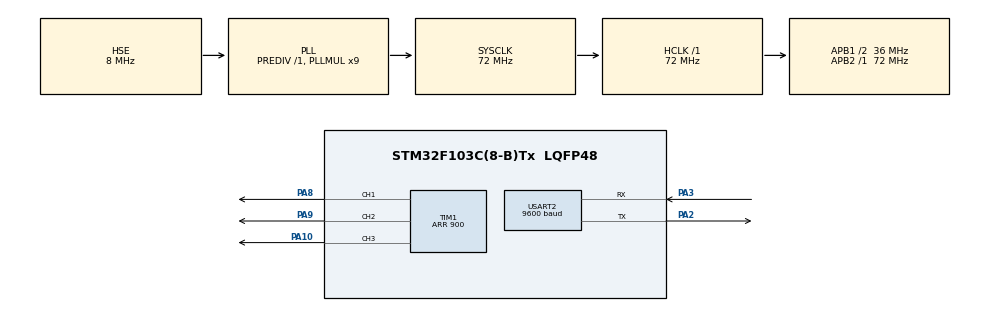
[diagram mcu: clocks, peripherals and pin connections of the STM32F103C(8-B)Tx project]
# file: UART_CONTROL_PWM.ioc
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Mcu.Family=STM32F1
Mcu.Name=STM32F103C(8-B)Tx
Mcu.Package=LQFP48
NVIC.PriorityGroup=NVIC_PRIORITYGROUP_4
NVIC.TIM4_IRQn=true\:15\:0\:false\:false\:true\:false\:true
NVIC.TimeBase=TIM4_IRQn
NVIC.TimeBaseIP=TIM4
NVIC.USART2_IRQn=true\:0\:0\:false\:false\:true\:true\:true
PA10.Signal=S_TIM1_CH3
PA13.Mode=Serial_Wire
PA13.Signal=SYS_JTMS-SWDIO
PA14.Mode=Serial_Wire
PA14.Signal=SYS_JTCK-SWCLK
PA2.Mode=Asynchronous
PA2.Signal=USART2_TX
PA3.Mode=Asynchronous
PA3.Signal=USART2_RX
PA8.Signal=S_TIM1_CH1
PA9.Signal=S_TIM1_CH2
PD0-OSC_IN.Mode=HSE-External-Oscillator
PD0-OSC_IN.Signal=RCC_OSC_IN
PD1-OSC_OUT.Mode=HSE-External-Oscillator
PD1-OSC_OUT.Signal=RCC_OSC_OUT
ProjectManager.HeapSize=0x200
ProjectManager.StackSize=0x400
ProjectManager.TargetToolchain=MDK-ARM V5.32
RCC.AHBFreq_Value=72000000
RCC.APB1CLKDivider=RCC_HCLK_DIV2
RCC.APB1Freq_Value=36000000
RCC.APB1TimFreq_Value=72000000
RCC.APB2Freq_Value=72000000
RCC.APB2TimFreq_Value=72000000
RCC.HCLKFreq_Value=72000000
RCC.PLLMUL=RCC_PLL_MUL9
RCC.PLLSourceVirtual=RCC_PLLSOURCE_HSE
RCC.SYSCLKFreq_VALUE=72000000
RCC.SYSCLKSource=RCC_SYSCLKSOURCE_PLLCLK
RCC.USBFreq_Value=72000000
SH.S_TIM1_CH1.0=TIM1_CH1,PWM Generation1 CH1
SH.S_TIM1_CH2.0=TIM1_CH2,PWM Generation2 CH2
SH.S_TIM1_CH3.0=TIM1_CH3,PWM Generation3 CH3
TIM1.Channel-PWM\ Generation1\ CH1=TIM_CHANNEL_1
TIM1.Channel-PWM\ Generation2\ CH2=TIM_CHANNEL_2
TIM1.Channel-PWM\ Generation3\ CH3=TIM_CHANNEL_3
TIM1.CounterMode=TIM_COUNTERMODE_CENTERALIGNED1
TIM1.OCMode_PWM-PWM\ Generation1\ CH1=TIM_OCMODE_PWM2
TIM1.OCMode_PWM-PWM\ Generation2\ CH2=TIM_OCMODE_PWM2
TIM1.OCMode_PWM-PWM\ Generation3\ CH3=TIM_OCMODE_PWM2
TIM1.OCPolarity_1=TIM_OCPOLARITY_LOW
TIM1.OCPolarity_2=TIM_OCPOLARITY_LOW
TIM1.OCPolarity_3=TIM_OCPOLARITY_LOW
TIM1.Period=900
USART2.BaudRate=9600
USART2.VirtualMode=VM_ASYNC
VP_SYS_VS_tim4.Mode=TIM4
board=custom

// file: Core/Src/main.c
/* USER CODE BEGIN Header */
/**
  ******************************************************************************
  * @file           : main.c
  * @brief          : Main program body
  ******************************************************************************
  * @attention
  *
  * Copyright (c) 2022 STMicroelectronics.
  * All rights reserved.
  *
  * This software is licensed under terms that can be found in the LICENSE file
  * in the root directory of this software component.
  * If no LICENSE file comes with this software, it is provided AS-IS.
  *
  ******************************************************************************
  */
/* USER CODE END Header */
#include "main.h"

/* USER CODE BEGIN PTD */
typedef enum{
	False = 0,
	True = 1
}bool;

typedef struct {
	bool selected;
	uint16_t x;
	uint16_t y;
	uint16_t z;
}pwm_channel;
/* USER CODE END PTD */

TIM_HandleTypeDef htim1;

UART_HandleTypeDef huart2;

/* USER CODE BEGIN PV */
#define SERIAL_BUFF 64
uint8_t _rx_buff[SERIAL_BUFF] = {0};
size_t _rx_buff_tail = 0;
size_t _rx_buff_head = 0;

uint8_t c;
uint8_t counter = 0;
uint8_t line[SERIAL_BUFF];

volatile pwm_channel pwm_c = {False,0,0,0};
/* USER CODE END PV */

void SystemClock_Config(void);
static void MX_GPIO_Init(void);
static void MX_TIM1_Init(void);
static void MX_USART2_UART_Init(void);
/* USER CODE BEGIN PFP */
uint8_t serial_read(void);
void gc_execute_line(uint8_t*);
bool read_number(uint8_t*,uint8_t*,long*);
/* USER CODE END PFP */

int main(void)
{

  /* MCU Configuration--------------------------------------------------------*/

  /* Reset of all peripherals, Initializes the Flash interface and the Systick. */
  HAL_Init();

  /* Configure the system clock */
  SystemClock_Config();

  /* Initialize all configured peripherals */
  MX_GPIO_Init();
  MX_TIM1_Init();
  MX_USART2_UART_Init();
  /* USER CODE BEGIN 2 */
	__HAL_UART_ENABLE_IT(&huart2,UART_IT_RXNE);
	HAL_TIM_PWM_Start(&htim1,TIM_CHANNEL_1);
	HAL_TIM_PWM_Start(&htim1,TIM_CHANNEL_2);
	HAL_TIM_PWM_Start(&htim1,TIM_CHANNEL_3);
  /* USER CODE END 2 */

  /* Infinite loop */
  /* USER CODE BEGIN WHILE */
  while (1)
  {
		c = serial_read();
		if(c != 0xFF){
			if ((c == '\n') || (c == '\r')) {
				line[counter] = 0;
				gc_execute_line(line);
				counter = 0;
			}
			else if (counter >= SERIAL_BUFF)
			{
				counter = 0;
			}
			else if (c >= 'a' && c <= 'z')
			{
				line[counter++] = c-'a'+'A';
			}
			else
			{
				line[counter++] = c;
			}
    /* USER CODE END WHILE */
		}
  }
}

void SystemClock_Config(void)
{
  RCC_OscInitTypeDef RCC_OscInitStruct = {0};
  RCC_ClkInitTypeDef RCC_ClkInitStruct = {0};

  /** Initializes the RCC Oscillators according to the specified parameters
  * in the RCC_OscInitTypeDef structure.
  */
  RCC_OscInitStruct.OscillatorType = RCC_OSCILLATORTYPE_HSE;
  RCC_OscInitStruct.HSEState = RCC_HSE_ON;
  RCC_OscInitStruct.HSEPredivValue = RCC_HSE_PREDIV_DIV1;
  RCC_OscInitStruct.HSIState = RCC_HSI_ON;
  RCC_OscInitStruct.PLL.PLLState = RCC_PLL_ON;
  RCC_OscInitStruct.PLL.PLLSource = RCC_PLLSOURCE_HSE;
  RCC_OscInitStruct.PLL.PLLMUL = RCC_PLL_MUL9;
  if (HAL_RCC_OscConfig(&RCC_OscInitStruct) != HAL_OK)
  {
    Error_Handler();
  }
  /** Initializes the CPU, AHB and APB buses clocks
  */
  RCC_ClkInitStruct.ClockType = RCC_CLOCKTYPE_HCLK|RCC_CLOCKTYPE_SYSCLK
                              |RCC_CLOCKTYPE_PCLK1|RCC_CLOCKTYPE_PCLK2;
  RCC_ClkInitStruct.SYSCLKSource = RCC_SYSCLKSOURCE_PLLCLK;
  RCC_ClkInitStruct.AHBCLKDivider = RCC_SYSCLK_DIV1;
  RCC_ClkInitStruct.APB1CLKDivider = RCC_HCLK_DIV2;
  RCC_ClkInitStruct.APB2CLKDivider = RCC_HCLK_DIV1;

  if (HAL_RCC_ClockConfig(&RCC_ClkInitStruct, FLASH_LATENCY_2) != HAL_OK)
  {
    Error_Handler();
  }
}

static void MX_TIM1_Init(void)
{

  TIM_MasterConfigTypeDef sMasterConfig = {0};
  TIM_OC_InitTypeDef sConfigOC = {0};
  TIM_BreakDeadTimeConfigTypeDef sBreakDeadTimeConfig = {0};

  htim1.Instance = TIM1;
  htim1.Init.Prescaler = 0;
  htim1.Init.CounterMode = TIM_COUNTERMODE_CENTERALIGNED1;
  htim1.Init.Period = 900;
  htim1.Init.ClockDivision = TIM_CLOCKDIVISION_DIV1;
  htim1.Init.RepetitionCounter = 0;
  htim1.Init.AutoReloadPreload = TIM_AUTORELOAD_PRELOAD_DISABLE;
  if (HAL_TIM_PWM_Init(&htim1) != HAL_OK)
  {
    Error_Handler();
  }
  sMasterConfig.MasterOutputTrigger = TIM_TRGO_RESET;
  sMasterConfig.MasterSlaveMode = TIM_MASTERSLAVEMODE_DISABLE;
  if (HAL_TIMEx_MasterConfigSynchronization(&htim1, &sMasterConfig) != HAL_OK)
  {
    Error_Handler();
  }
  sConfigOC.OCMode = TIM_OCMODE_PWM2;
  sConfigOC.Pulse = 0;
  sConfigOC.OCPolarity = TIM_OCPOLARITY_LOW;
  sConfigOC.OCNPolarity = TIM_OCNPOLARITY_HIGH;
  sConfigOC.OCFastMode = TIM_OCFAST_DISABLE;
  sConfigOC.OCIdleState = TIM_OCIDLESTATE_RESET;
  sConfigOC.OCNIdleState = TIM_OCNIDLESTATE_RESET;
  if (HAL_TIM_PWM_ConfigChannel(&htim1, &sConfigOC, TIM_CHANNEL_1) != HAL_OK)
  {
    Error_Handler();
  }
  if (HAL_TIM_PWM_ConfigChannel(&htim1, &sConfigOC, TIM_CHANNEL_2) != HAL_OK)
  {
    Error_Handler();
  }
  if (HAL_TIM_PWM_ConfigChannel(&htim1, &sConfigOC, TIM_CHANNEL_3) != HAL_OK)
  {
    Error_Handler();
  }
  sBreakDeadTimeConfig.OffStateRunMode = TIM_OSSR_DISABLE;
  sBreakDeadTimeConfig.OffStateIDLEMode = TIM_OSSI_DISABLE;
  sBreakDeadTimeConfig.LockLevel = TIM_LOCKLEVEL_OFF;
  sBreakDeadTimeConfig.DeadTime = 0;
  sBreakDeadTimeConfig.BreakState = TIM_BREAK_DISABLE;
  sBreakDeadTimeConfig.BreakPolarity = TIM_BREAKPOLARITY_HIGH;
  sBreakDeadTimeConfig.AutomaticOutput = TIM_AUTOMATICOUTPUT_DISABLE;
  if (HAL_TIMEx_ConfigBreakDeadTime(&htim1, &sBreakDeadTimeConfig) != HAL_OK)
  {
    Error_Handler();
  }
  HAL_TIM_MspPostInit(&htim1);

}

static void MX_USART2_UART_Init(void)
{

  huart2.Instance = USART2;
  huart2.Init.BaudRate = 9600;
  huart2.Init.WordLength = UART_WORDLENGTH_8B;
  huart2.Init.StopBits = UART_STOPBITS_1;
  huart2.Init.Parity = UART_PARITY_NONE;
  huart2.Init.Mode = UART_MODE_TX_RX;
  huart2.Init.HwFlowCtl = UART_HWCONTROL_NONE;
  huart2.Init.OverSampling = UART_OVERSAMPLING_16;
  if (HAL_UART_Init(&huart2) != HAL_OK)
  {
    Error_Handler();
  }

}

static void MX_GPIO_Init(void)
{

  /* GPIO Ports Clock Enable */
  __HAL_RCC_GPIOD_CLK_ENABLE();
  __HAL_RCC_GPIOA_CLK_ENABLE();

}

/* USER CODE BEGIN 4 */

uint8_t serial_read(void){
	uint8_t result = 0xff;
	if(_rx_buff_tail == _rx_buff_head){
		return result;
	}
	else{
		result = _rx_buff[_rx_buff_tail];
		_rx_buff_tail = (_rx_buff_tail+1)%SERIAL_BUFF;
		return result;
	}
}

//void HAL_UART_TxCpltCallback(UART_HandleTypeDef *huart){
//	uint8_t next_head;
//	if (huart->Instance == huart2.Instance){
//		next_head = (_rx_buff_head+1)%SERIAL_BUFF;
//		if (next_head != _rx_buff_tail){
//			_rx_buff[_rx_buff_head] = huart2.Instance->DR;
//			_rx_buff_head = next_head;
//		}
//	}
//}

void USART2_IRQHandler(void)
{
	if((huart2.Instance->SR & USART_SR_RXNE) != 0x0000){
		uint8_t next_head = (_rx_buff_head+1)%SERIAL_BUFF;
		if (next_head != _rx_buff_tail){
			_rx_buff[_rx_buff_head] = huart2.Instance->DR;
			_rx_buff_head = next_head;
		}
	}
}

void gc_execute_line(uint8_t* line){
	uint8_t count = 0;
	char letter;
	long value = 0;
	while(line[count] != 0){
		letter = line[count];
		// the command is between 'A' and 'B'
		if((letter < 'A') || (letter > 'Z')){
			break;
		}
		count+=1;
		if(!read_number(line,&count,&value)){
			return;
		}
		switch(letter){
			case 'P':{
				switch(value){
					case 1:{
						pwm_c.selected = True;
						break;
					}
				}
				break;
			}
			default:
				switch(letter){
					case 'X':{
						pwm_c.x = value;
						break;
					}
					case 'Y':{
						pwm_c.y = value;
						break;
					}
					case 'Z':{
						pwm_c.z = value;
						break;
					}
					default:
						break;
				}
		}
	}
	if (pwm_c.selected == True){
		__HAL_TIM_SET_COMPARE(&htim1,TIM_CHANNEL_1,pwm_c.x);
		__HAL_TIM_SET_COMPARE(&htim1,TIM_CHANNEL_2,pwm_c.y);
		__HAL_TIM_SET_COMPARE(&htim1,TIM_CHANNEL_3,pwm_c.z);
	}
}

bool read_number(uint8_t* line,uint8_t *char_counter, long *value){
	uint8_t *new_data = line+*char_counter;
	uint8_t c = *new_data++;
	// save local number
	uint8_t ndigit = 0;
	long int_value = 0;

	if((c < '0') || (c > '9')){
		return False;
	}

	while(1){
		c -= '0';
		if (c<9){
			ndigit+=1;
			if (ndigit < 8){
				int_value = int_value*10+c;
			}
			else{
				break;
			}
		}
		else{
			break;
		}
		c = *new_data++;
	}
	*value = int_value;
	*char_counter = new_data - line - 1;
	return True;
}
/* USER CODE END 4 */

void HAL_TIM_PeriodElapsedCallback(TIM_HandleTypeDef *htim)
{
  if (htim->Instance == TIM4) {
    HAL_IncTick();
  }
}

void Error_Handler(void)
{
  __disable_irq();
  while (1)
  {
  }
}
